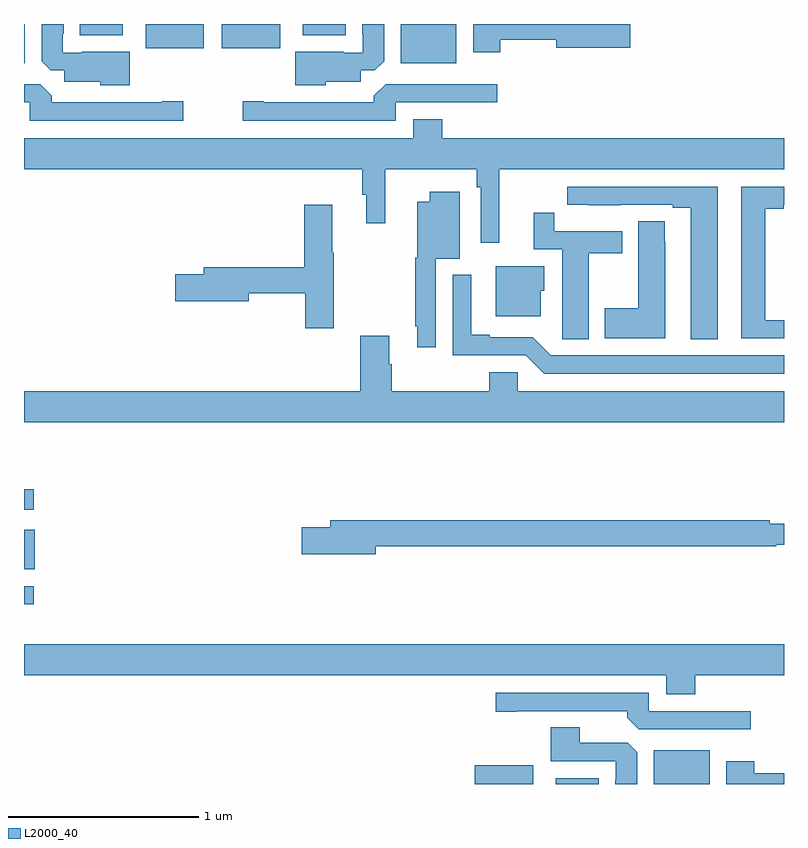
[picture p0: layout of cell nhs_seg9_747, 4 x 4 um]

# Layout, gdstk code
import gdstk
lib = gdstk.Library(unit=1e-6, precision=1e-09)
def R(c, l, rs):  # rectangles x0, y0, x1, y1
    for r in rs: c.add(gdstk.rectangle(r[:2], r[2:], *l))
def P(c, l, *ps):  # polygons
    for p in ps: c.add(gdstk.Polygon(p, *l))
L2000_40 = (2000, 40)

nhs_seg9_747 = lib.new_cell('nhs_seg9_747')
R(nhs_seg9_747, L2000_40, [(151.373,1210.5,151.681,1210.6), (151.799,1210.5,152.026,1210.531), (152.315,1210.5,152.608,1210.678), (149,1211.445,149.05,1211.541), (149,1211.63,149.056,1211.839), (149,1211.943,149.05,1212.052), (149,1214.294,149.005,1214.5), (150.983,1214.294,151.276,1214.5), (149.64,1214.372,149.947,1214.5), (150.041,1214.372,150.349,1214.5), (149.294,1214.441,149.521,1214.5), (150.467,1214.441,150.694,1214.5)])
P(nhs_seg9_747, L2000_40, [(149.557,1214.353),(149.305,1214.353),(149.305,1214.349),(149.205,1214.349),(149.205,1214.449),(149.209,1214.449),(149.209,1214.5),(149.093,1214.5),(149.093,1214.305),(149.142,1214.256),(149.213,1214.256),(149.213,1214.195),(149.4,1214.195),(149.4,1214.177),(149.557,1214.177)],
  [(150.588,1214.195),(150.772,1214.195),(150.772,1214.256),(150.846,1214.256),(150.895,1214.305),(150.895,1214.5),(150.779,1214.5),(150.779,1214.449),(150.783,1214.449),(150.783,1214.349),(150.683,1214.349),(150.683,1214.353),(150.428,1214.353),(150.428,1214.177),(150.588,1214.177)],
  [(151.506,1214.416),(151.802,1214.416),(151.802,1214.374),(152.191,1214.374),(152.191,1214.5),(151.364,1214.5),(151.364,1214.352),(151.506,1214.352)],
  [(150.957,1214.088),(151.492,1214.088),(151.492,1214.184),(150.903,1214.184),(150.842,1214.122),(150.842,1214.088),(150.262,1214.088),(150.262,1214.093),(150.15,1214.093),(150.15,1213.992),(150.957,1213.992)],
  [(149.839,1214.093),(149.726,1214.093),(149.726,1214.088),(149.147,1214.088),(149.147,1214.122),(149.085,1214.184),(149,1214.184),(149,1214.088),(149.031,1214.088),(149.031,1213.992),(149.839,1213.992)],
  [(151.202,1213.999),(151.049,1213.999),(151.049,1213.9),(149,1213.9),(149,1213.736),(150.781,1213.736),(150.781,1213.602),(150.8,1213.602),(150.8,1213.452),(150.9,1213.452),(150.9,1213.736),(151.384,1213.736),(151.384,1213.64),(151.404,1213.64),(151.404,1213.35),(151.502,1213.35),(151.502,1213.736),(153,1213.736),(153,1213.9),(151.202,1213.9)],
  [(153,1212.942),(152.902,1212.942),(152.902,1213.528),(152.998,1213.528),(152.998,1213.548),(153,1213.548),(153,1213.644),(152.774,1213.644),(152.774,1212.846),(153,1212.846)],
  [(152.65,1213.644),(151.86,1213.644),(151.86,1213.548),(151.972,1213.548),(151.972,1213.547),(152.138,1213.547),(152.138,1213.548),(152.414,1213.548),(152.414,1213.533),(152.51,1213.533),(152.51,1212.841),(152.65,1212.841)],
  [(151.167,1213.265),(151.294,1213.265),(151.294,1213.618),(151.136,1213.618),(151.136,1213.564),(151.07,1213.564),(151.07,1213.269),(151.059,1213.269),(151.059,1212.91),(151.07,1212.91),(151.07,1212.798),(151.167,1212.798)],
  [(150.63,1213.297),(150.622,1213.297),(150.622,1213.549),(150.476,1213.549),(150.476,1213.22),(149.945,1213.22),(149.945,1213.184),(149.796,1213.184),(149.796,1213.042),(150.184,1213.042),(150.184,1213.084),(150.481,1213.084),(150.481,1212.9),(150.63,1212.9)],
  [(151.972,1213.294),(152.149,1213.294),(152.149,1213.41),(151.79,1213.41),(151.79,1213.507),(151.682,1213.507),(151.682,1213.314),(151.832,1213.314),(151.832,1212.952),(151.833,1212.952),(151.833,1212.841),(151.972,1212.841)],
  [(152.374,1213.355),(152.373,1213.355),(152.373,1213.463),(152.234,1213.463),(152.234,1213.005),(152.057,1213.005),(152.057,1212.845),(152.374,1212.845)],
  [(151.72,1213.095),(151.738,1213.095),(151.738,1213.225),(151.484,1213.225),(151.484,1212.962),(151.72,1212.962)],
  [(153,1212.756),(151.773,1212.756),(151.677,1212.852),(151.45,1212.852),(151.45,1212.865),(151.354,1212.865),(151.354,1213.18),(151.257,1213.18),(151.257,1212.756),(151.641,1212.756),(151.737,1212.66),(153,1212.66)],
  [(153,1212.568),(151.599,1212.568),(151.599,1212.666),(151.448,1212.666),(151.448,1212.568),(150.935,1212.568),(150.935,1212.71),(150.922,1212.71),(150.922,1212.859),(150.77,1212.859),(150.77,1212.568),(149,1212.568),(149,1212.404),(153,1212.404)],
  [(150.85,1211.752),(152.96,1211.752),(152.96,1211.76),(153,1211.76),(153,1211.869),(152.924,1211.869),(152.924,1211.888),(150.611,1211.888),(150.611,1211.852),(150.462,1211.852),(150.462,1211.71),(150.85,1211.71)],
  [(152.534,1211.072),(153,1211.072),(153,1211.236),(149,1211.236),(149,1211.072),(152.381,1211.072),(152.381,1210.973),(152.534,1210.973)],
  [(152.824,1210.884),(152.289,1210.884),(152.289,1210.98),(151.482,1210.98),(151.482,1210.879),(151.594,1210.879),(151.594,1210.884),(152.174,1210.884),(152.174,1210.85),(152.235,1210.788),(152.824,1210.788)],
  [(152.227,1210.667),(152.178,1210.716),(151.924,1210.716),(151.924,1210.799),(151.772,1210.799),(151.772,1210.62),(152.115,1210.62),(152.115,1210.523),(152.111,1210.523),(152.111,1210.5),(152.227,1210.5)],
  [(153,1210.556),(152.843,1210.556),(152.843,1210.621),(152.696,1210.621),(152.696,1210.5),(153,1210.5)])

lib.write_gds('nhs_seg9_747.gds')
